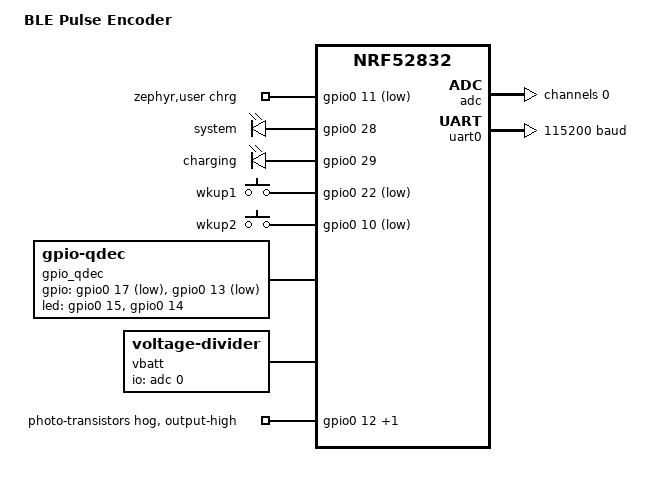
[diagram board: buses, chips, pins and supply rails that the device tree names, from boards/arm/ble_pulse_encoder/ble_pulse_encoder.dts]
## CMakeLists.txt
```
cmake_minimum_required(VERSION 3.20.0)

set(BOARD_ROOT ${CMAKE_CURRENT_LIST_DIR})
set(BOARD ble_pulse_encoder)

find_package(Zephyr REQUIRED HINTS $ENV{ZEPHYR_BASE})
project(ble-pulse-encoder)

FILE(GLOB app_sources src/*.c)
target_sources(app PRIVATE ${app_sources})
```

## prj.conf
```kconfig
CONFIG_MAIN_STACK_SIZE=1024
CONFIG_SYSTEM_WORKQUEUE_STACK_SIZE=2048
CONFIG_COMPILER_TRACK_MACRO_EXPANSION=n

CONFIG_INPUT_THREAD_STACK_SIZE=1024

CONFIG_PM_DEVICE=y

CONFIG_GPIO=y
CONFIG_GPIO_HOGS=y
CONFIG_LED=y
CONFIG_ADC=y
CONFIG_FLASH=y
CONFIG_STREAM_FLASH=y
CONFIG_FLASH_MAP=y
CONFIG_NVS=y
CONFIG_SETTINGS=y
CONFIG_WATCHDOG=y
CONFIG_INPUT=y
CONFIG_POWEROFF=y

CONFIG_SHELL=y
CONFIG_SHELL_MINIMAL=y
CONFIG_THREAD_RUNTIME_STATS=y

CONFIG_KERNEL_SHELL=y
CONFIG_SETTINGS_SHELL=y
CONFIG_FLASH_SHELL=y
CONFIG_INPUT_SHELL=y

CONFIG_BT=y
CONFIG_BT_SMP=y
CONFIG_BT_PERIPHERAL=y
CONFIG_BT_BAS=y
CONFIG_BT_DEVICE_APPEARANCE=962
CONFIG_BT_SETTINGS=y

CONFIG_BT_DEVICE_NAME="BLE Pulse Encoder"

CONFIG_BT_PERIPHERAL_PREF_MIN_INT=6
CONFIG_BT_PERIPHERAL_PREF_MAX_INT=12
CONFIG_BT_PERIPHERAL_PREF_LATENCY=30
CONFIG_BT_PERIPHERAL_PREF_TIMEOUT=400
CONFIG_BT_CONN_PARAM_UPDATE_TIMEOUT=1000

CONFIG_BT_MAX_CONN=1
CONFIG_BT_MAX_PAIRED=1

# Dev options
CONFIG_SERIAL=n
CONFIG_SHELL_BACKEND_SERIAL=n
CONFIG_UART_CONSOLE=n
CONFIG_CONSOLE=n
CONFIG_LOG=n
#CONFIG_INPUT_EVENT_DUMP=y
#CONFIG_LOG_MODE_MINIMAL=y

# MCUmgr

CONFIG_MCUBOOT_SIGNATURE_KEY_FILE="../git/ble-pulse-encoder/firmware/ble-pulse-encoder-key.pem"

CONFIG_ZCBOR=y
CONFIG_MCUMGR=y
CONFIG_BOOTLOADER_MCUBOOT=y
CONFIG_THREAD_MONITOR=y
CONFIG_MCUMGR_GRP_OS=y
CONFIG_MCUMGR_GRP_OS_ECHO=n
CONFIG_MCUMGR_GRP_OS_TASKSTAT=n
CONFIG_MCUMGR_GRP_SHELL=y
CONFIG_SHELL_BACKEND_DUMMY=y
CONFIG_SHELL_BACKEND_DUMMY_BUF_SIZE=1536
CONFIG_MCUBOOT_SHELL=y

CONFIG_MCUMGR_GRP_IMG=y
CONFIG_MCUMGR_GRP_ZBASIC=y
CONFIG_MCUMGR_GRP_ZBASIC_STORAGE_ERASE=y
CONFIG_IMG_MANAGER=y

CONFIG_BT_L2CAP_TX_MTU=498
CONFIG_BT_BUF_ACL_RX_SIZE=502
CONFIG_BT_BUF_ACL_TX_SIZE=502
CONFIG_BT_CTLR_DATA_LENGTH_MAX=251

CONFIG_MCUMGR_TRANSPORT_BT=y
CONFIG_MCUMGR_TRANSPORT_BT_AUTHEN=n
CONFIG_MCUMGR_TRANSPORT_BT_CONN_PARAM_CONTROL=y

CONFIG_MCUMGR_TRANSPORT_BT_REASSEMBLY=y
CONFIG_MCUMGR_TRANSPORT_NETBUF_SIZE=2475
CONFIG_MCUMGR_GRP_OS_MCUMGR_PARAMS=y
```

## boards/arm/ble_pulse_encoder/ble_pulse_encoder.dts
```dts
/dts-v1/;
#include <nordic/nrf52832_qfaa.dtsi>
#include <zephyr/dt-bindings/input/input-event-codes.h>
#include <zephyr/dt-bindings/gpio/nordic-nrf-gpio.h>
#include "ble_pulse_encoder-pinctrl.dtsi"

/ {
	model = "BLE Pulse Encoder";
	compatible = "balto,ble-pulse-encoder";

	zephyr,user {
		chrg-gpios = <&gpio0 11 (GPIO_PULL_UP | GPIO_ACTIVE_LOW)>;
	};

	chosen {
		zephyr,console = &uart0;
		zephyr,shell-uart = &uart0;
		zephyr,uart-mcumgr = &uart0;
		zephyr,sram = &sram0;
		zephyr,flash = &flash0;
		zephyr,code-partition = &slot0_partition;
	};

	leds {
		compatible = "gpio-leds";
		system: led_a {
			gpios = <&gpio0 28 GPIO_ACTIVE_HIGH>;
		};
		charging: led_b {
			gpios = <&gpio0 29 GPIO_ACTIVE_HIGH>;
		};
	};

	buttons: buttons {
		compatible = "gpio-keys";
		wkup1: sw_a {
			gpios = <&gpio0 22 (GPIO_PULL_UP | GPIO_ACTIVE_LOW)>;
			zephyr,code = <INPUT_BTN_RIGHT>;
		};
		wkup2: sw_b {
			gpios = <&gpio0 10 (GPIO_PULL_UP | GPIO_ACTIVE_LOW)>;
			zephyr,code = <INPUT_BTN_LEFT>;
		};
	};

	gpio_qdec: gpio-qdec {
		compatible = "gpio-qdec";
		gpios = <&gpio0 17 GPIO_ACTIVE_LOW>,
			<&gpio0 13 GPIO_ACTIVE_LOW>;
		led-gpios = <&gpio0 15 (GPIO_ACTIVE_HIGH | NRF_GPIO_DRIVE_S0H1)>,
			    <&gpio0 14 (GPIO_ACTIVE_HIGH | NRF_GPIO_DRIVE_S0H1)>;
		led-pre-us = <4>;
		steps-per-period = <4>;
		zephyr,axis = <INPUT_REL_WHEEL>;
		sample-time-us = <128>;
		idle-timeout-ms = <100>;
		idle-poll-time-us = <5000>;
	};

	vbatt: vbatt {
		compatible = "voltage-divider";
		io-channels = <&adc 0>;
		output-ohms = <(560 * 1000)>;
		full-ohms = <(560 * 1000 * 2)>;
	};
};

&uicr {
	nfct-pins-as-gpios;
};

&adc {
	status = "okay";
	#address-cells = <1>;
	#size-cells = <0>;

	channel@0 {
		reg = <0>;
		zephyr,gain = "ADC_GAIN_1_4";
		zephyr,reference = "ADC_REF_INTERNAL";
		zephyr,acquisition-time = <ADC_ACQ_TIME(ADC_ACQ_TIME_MICROSECONDS, 40)>;
		zephyr,input-positive = <NRF_SAADC_AIN3>;
		zephyr,resolution = <10>;
	};
};

&gpiote {
	status = "okay";
};

&gpio0 {
	status = "okay";
	photo-transistors {
		gpio-hog;
		gpios = <12 GPIO_ACTIVE_HIGH>,
			<16 GPIO_ACTIVE_HIGH>;
		output-high;
	};
};

&uart0 {
	status = "okay";
	compatible = "nordic,nrf-uarte";
	current-speed = <115200>;
	pinctrl-0 = <&uart0_default>;
	pinctrl-1 = <&uart0_sleep>;
	pinctrl-names = "default", "sleep";
};

&flash0 {
	partitions {
		compatible = "fixed-partitions";
		#address-cells = <1>;
		#size-cells = <1>;

		boot_partition: partition@0 {
			label = "mcuboot";
			reg = <0x00000000 0x8000>;
		};
		slot0_partition: partition@8000 {
			label = "image-0";
			reg = <0x00008000 0x3a000>;
		};
		slot1_partition: partition@42000 {
			label = "image-1";
			reg = <0x00042000 0x3a000>;
		};
		storage_partition: partition@7c000 {
			label = "storage";
			reg = <0x0007c000 0x00004000>;
		};
	};
};
```

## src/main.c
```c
#include <zephyr/kernel.h>
#include <zephyr/logging/log.h>

LOG_MODULE_REGISTER(main, LOG_LEVEL_INF);

int main(void)
{
	k_sleep(K_FOREVER);
}
```

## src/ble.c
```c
#include <zephyr/bluetooth/bluetooth.h>
#include <zephyr/bluetooth/uuid.h>
#include <zephyr/init.h>
#include <zephyr/input/input.h>
#include <zephyr/kernel.h>
#include <zephyr/logging/log.h>
#include <zephyr/settings/settings.h>
#include <zephyr/shell/shell.h>

#include "blinker.h"

LOG_MODULE_REGISTER(ble, LOG_LEVEL_INF);

#define DEVICE_NAME     CONFIG_BT_DEVICE_NAME
#define DEVICE_NAME_LEN (sizeof(DEVICE_NAME) - 1)

static const struct bt_data ad[] = {
	BT_DATA_BYTES(BT_DATA_FLAGS, (BT_LE_AD_GENERAL | BT_LE_AD_NO_BREDR)),
	BT_DATA_BYTES(BT_DATA_GAP_APPEARANCE,
		      CONFIG_BT_DEVICE_APPEARANCE & 0xff,
		      (CONFIG_BT_DEVICE_APPEARANCE >> 8) & 0xff),
	BT_DATA_BYTES(BT_DATA_UUID16_ALL,
		      BT_UUID_16_ENCODE(BT_UUID_HIDS_VAL)),
	BT_DATA(BT_DATA_NAME_COMPLETE, DEVICE_NAME, DEVICE_NAME_LEN),
};

static struct bt_le_adv_param ad_param = BT_LE_ADV_PARAM_INIT(
		BT_LE_ADV_OPT_CONNECTABLE,
		BT_GAP_ADV_SLOW_INT_MIN, BT_GAP_ADV_SLOW_INT_MAX, NULL);

#if CONFIG_SHELL

static int cmd_ble_unpair(const struct shell *sh, size_t argc, char **argv)
{
	int err;

	err = bt_unpair(BT_ID_DEFAULT, NULL);
	if (err) {
		shell_error(sh, "Failed to clear pairings (err %d)",
			    err);
		return err;
	}

	shell_print(sh, "Pairing successfully cleared");

	return 0;
}
SHELL_CMD_REGISTER(ble_unpair, NULL, "BLE Unpair", cmd_ble_unpair);

#endif

#define UNPAIR_TIMEOUT_S 5

static void unpair_handler(struct k_work *work)
{
	bt_unpair(BT_ID_DEFAULT, NULL);

	blink(BLINK_UNPAIRED);
}

K_WORK_DELAYABLE_DEFINE(unpair_dwork, unpair_handler);

static void unpair_cb(struct input_event *evt)
{
	static bool a, b;

        if (evt->type != INPUT_EV_KEY) {
		return;
	}

	if (evt->code == INPUT_BTN_LEFT) {
		a = evt->value;
	}
	else if (evt->code == INPUT_BTN_RIGHT) {
		b = evt->value;
	}

	if (a && b) {
		k_work_schedule(&unpair_dwork, K_SECONDS(UNPAIR_TIMEOUT_S));
	} else {
		k_work_cancel_delayable(&unpair_dwork);
	}
}
INPUT_CALLBACK_DEFINE(NULL, unpair_cb);

static int ble_setup(void)
{
	int err;

	err = bt_enable(NULL);
	if (err) {
		LOG_ERR("Bluetooth init failed (err %d)", err);
		return -EIO;
	}

	LOG_INF("Bluetooth initialized");

	if (IS_ENABLED(CONFIG_SETTINGS)) {
		settings_load();
	}

	err = bt_le_adv_start(&ad_param, ad, ARRAY_SIZE(ad), NULL, 0);
	if (err) {
		LOG_ERR("Advertising failed to start (err %d)", err);
		return -EIO;
	}

	return 0;
}
SYS_INIT(ble_setup, APPLICATION, 99);
```

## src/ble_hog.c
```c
#include <zephyr/bluetooth/bluetooth.h>
#include <zephyr/bluetooth/gatt.h>
#include <zephyr/bluetooth/uuid.h>
#include <zephyr/input/input.h>
#include <zephyr/kernel.h>
#include <zephyr/logging/log.h>
#include <zephyr/sys/util.h>

#include "ble_hog.h"

LOG_MODULE_REGISTER(ble_hog, LOG_LEVEL_INF);

static struct hids_info info = {
	.version = 0x0000,
	.code = 0x00,
	.flags = HIDS_NORMALLY_CONNECTABLE,
};

static struct hids_report input_mouse = {
	.id = 0x01,
	.type = HIDS_INPUT,
};

static bool notify_enabled;
static uint8_t ctrl_point;
static uint8_t report_map[] = {
	0x05, 0x01,                    // Usage Page (Generic Desktop)
	0x09, 0x02,                    // Usage (Mouse)
	0xa1, 0x01,                    // Collection (Application)
	0x85, 0x01,                    //  Report ID (1)
	0x09, 0x01,                    //  Usage (Pointer)
	0xa1, 0x00,                    //  Collection (Physical)

	0x05, 0x09,                    //   Usage Page (Button)
	0x19, 0x01,                    //   Usage Minimum (1)
	0x29, 0x03,                    //   Usage Maximum (3)
	0x15, 0x00,                    //   Logical Minimum (0)
	0x25, 0x01,                    //   Logical Maximum (1)
	0x95, 0x03,                    //   Report Count (3)
	0x75, 0x01,                    //   Report Size (1)
	0x81, 0x02,                    //   Input (Data,Var,Abs)

	0x95, 0x01,                    //   Report Count (1)
	0x75, 0x05,                    //   Report Size (5)
	0x81, 0x03,                    //   Input (Cnst,Var,Abs)

	0x05, 0x01,                    //   Usage Page (Generic Desktop)
	0x16, 0x01, 0x80,              //   Logical Minimum (-32767)
	0x26, 0xff, 0x7f,              //   Logical Maximum (32767)
	0x75, 0x10,                    //   Report Size (16)
	0x95, 0x02,                    //   Report Count (2)
	0x09, 0x30,                    //   Usage (X)
	0x09, 0x31,                    //   Usage (Y)
	0x81, 0x06,                    //   Input (Data,Var,Rel)

	0x15, 0x81,                    //   Logical Minimum (-127)
	0x25, 0x7f,                    //   Logical Maximum (127)
	0x75, 0x08,                    //   Report Size (8)
	0x95, 0x01,                    //   Report Count (1)
	0x09, 0x38,                    //   Usage (Wheel)
	0x81, 0x06,                    //   Input (Data,Var,Rel)

	0xc0,                          //  End Collection
	0xc0,                          // End Collection
};

static ssize_t read_info(struct bt_conn *conn,
			  const struct bt_gatt_attr *attr, void *buf,
			  uint16_t len, uint16_t offset)
{
	return bt_gatt_attr_read(conn, attr, buf, len, offset, attr->user_data,
				 sizeof(struct hids_info));
}

static ssize_t read_report_map(struct bt_conn *conn,
			       const struct bt_gatt_attr *attr, void *buf,
			       uint16_t len, uint16_t offset)
{
	return bt_gatt_attr_read(conn, attr, buf, len, offset, report_map,
				 sizeof(report_map));
}

static ssize_t read_report(struct bt_conn *conn,
			   const struct bt_gatt_attr *attr, void *buf,
			   uint16_t len, uint16_t offset)
{
	return bt_gatt_attr_read(conn, attr, buf, len, offset, attr->user_data,
				 sizeof(struct hids_report));
}

static void input_ccc_changed(const struct bt_gatt_attr *attr, uint16_t value)
{
	ARG_UNUSED(attr);

	notify_enabled = (value == BT_GATT_CCC_NOTIFY);

	LOG_INF("notify_enabled: %d", notify_enabled);
}

static ssize_t read_input_report(struct bt_conn *conn,
				 const struct bt_gatt_attr *attr, void *buf,
				 uint16_t len, uint16_t offset)
{
	return bt_gatt_attr_read(conn, attr, buf, len, offset, NULL, 0);
}

static ssize_t write_ctrl_point(struct bt_conn *conn,
				const struct bt_gatt_attr *attr,
				const void *buf, uint16_t len, uint16_t offset,
				uint8_t flags)
{
	uint8_t *value = attr->user_data;

	if (offset + len > sizeof(ctrl_point)) {
		return BT_GATT_ERR(BT_ATT_ERR_INVALID_OFFSET);
	}

	memcpy(value + offset, buf, len);

	return len;
}

/* HID Service Declaration */
BT_GATT_SERVICE_DEFINE(hog_svc,
	BT_GATT_PRIMARY_SERVICE(BT_UUID_HIDS),
	BT_GATT_CHARACTERISTIC(BT_UUID_HIDS_INFO, BT_GATT_CHRC_READ,
			       BT_GATT_PERM_READ, read_info, NULL, &info),
	BT_GATT_CHARACTERISTIC(BT_UUID_HIDS_REPORT_MAP, BT_GATT_CHRC_READ,
			       BT_GATT_PERM_READ, read_report_map, NULL, NULL),

	/* Report 1: mouse */
	BT_GATT_CHARACTERISTIC(BT_UUID_HIDS_REPORT,
			       BT_GATT_CHRC_READ | BT_GATT_CHRC_NOTIFY,
			       BT_GATT_PERM_READ_ENCRYPT,
			       read_input_report, NULL, NULL),
	BT_GATT_CCC(input_ccc_changed,
		    BT_GATT_PERM_READ_ENCRYPT | BT_GATT_PERM_WRITE_ENCRYPT),
	BT_GATT_DESCRIPTOR(BT_UUID_HIDS_REPORT_REF, BT_GATT_PERM_READ,
			   read_report, NULL, &input_mouse),

	BT_GATT_CHARACTERISTIC(BT_UUID_HIDS_CTRL_POINT,
			       BT_GATT_CHRC_WRITE_WITHOUT_RESP,
			       BT_GATT_PERM_WRITE,
			       NULL, write_ctrl_point, &ctrl_point),
);

static struct {
	uint8_t buttons;
	int16_t x;
	int16_t y;
	int8_t wheel;
} __packed report_mouse, report_mouse_last;

static void ble_hog_set_key_mouse(uint16_t code, uint32_t value)
{
	uint8_t bit;

	switch (code) {
	case INPUT_BTN_LEFT:
		bit = 0;
		break;
	case INPUT_BTN_RIGHT:
		bit = 1;
		break;
	case INPUT_BTN_MIDDLE:
		bit = 2;
		break;
	default:
		return;
	}

	WRITE_BIT(report_mouse.buttons, bit, value);
}

static void ble_hog_set_rel(uint16_t code, int32_t value)
{
	switch (code) {
	case INPUT_REL_X:
		report_mouse.x = CLAMP(value, INT16_MIN, INT16_MAX);
		break;
	case INPUT_REL_Y:
		report_mouse.y = CLAMP(value, INT16_MIN, INT16_MAX);
		break;
	case INPUT_REL_WHEEL:
		report_mouse.wheel = CLAMP(value, INT8_MIN, INT8_MAX);;
		break;
	default:
		return;
	}
}

static void hog_input_cb(struct input_event *evt)
{
	if (evt->type == INPUT_EV_KEY) {
		ble_hog_set_key_mouse(evt->code, evt->value);
	} else if (evt->type == INPUT_EV_REL) {
		ble_hog_set_rel(evt->code, evt->value);
	} else {
		LOG_ERR("unrecognized event type: %x", evt->type);
	}

	if (!notify_enabled) {
		return;
	}

	if (!input_queue_empty()) {
		return;
	}

	if (memcmp(&report_mouse_last, &report_mouse, sizeof(report_mouse))) {
		bt_gatt_notify(NULL, &hog_svc.attrs[5],
			       &report_mouse, sizeof(report_mouse));
		report_mouse.x = 0;
		report_mouse.y = 0;
		report_mouse.wheel = 0;
		memcpy(&report_mouse_last, &report_mouse, sizeof(report_mouse));
	}
}
INPUT_CALLBACK_DEFINE(NULL, hog_input_cb);
```

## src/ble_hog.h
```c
#include <zephyr/sys/util.h>

enum {
	HIDS_REMOTE_WAKE = BIT(0),
	HIDS_NORMALLY_CONNECTABLE = BIT(1),
};

struct hids_info {
	uint16_t version;
	uint8_t code;
	uint8_t flags;
} __packed;

struct hids_report {
	uint8_t id; /* report id */
	uint8_t type; /* report type */
} __packed;

enum {
	HIDS_INPUT = 0x01,
	HIDS_OUTPUT = 0x02,
	HIDS_FEATURE = 0x03,
};
```

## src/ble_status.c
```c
#include <zephyr/bluetooth/bluetooth.h>
#include <zephyr/bluetooth/conn.h>
#include <zephyr/init.h>
#include <zephyr/logging/log.h>
#include <zephyr/pm/device.h>

#include "blinker.h"

LOG_MODULE_REGISTER(ble_state, LOG_LEVEL_INF);

static const struct device *qdec = DEVICE_DT_GET(DT_NODELABEL(gpio_qdec));

static void connected(struct bt_conn *conn, uint8_t err)
{
	pm_device_action_run(qdec, PM_DEVICE_ACTION_RESUME);

	blink(BLINK_CONNECTED);
}

static void disconnected(struct bt_conn *conn, uint8_t reason)
{
	pm_device_action_run(qdec, PM_DEVICE_ACTION_SUSPEND);

	blink(BLINK_DISCONNECTED);
}

BT_CONN_CB_DEFINE(conn_callbacks) = {
	.connected = connected,
	.disconnected = disconnected,
};
```

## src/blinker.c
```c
#include <zephyr/device.h>
#include <zephyr/drivers/led.h>
#include <zephyr/kernel.h>
#include <zephyr/logging/log.h>

#include "blinker.h"

LOG_MODULE_REGISTER(blinker, LOG_LEVEL_INF);

static const struct device *leds = DEVICE_DT_GET_ONE(gpio_leds);

#define LED_SYSTEM DT_NODE_CHILD_IDX(DT_NODELABEL(system))

#define BLINKER_QUEUE_SZ 10

K_MSGQ_DEFINE(blinker_msgq, sizeof(enum blinker_event), BLINKER_QUEUE_SZ, 4);

void blink(enum blinker_event event)
{
	int ret;

	ret = k_msgq_put(&blinker_msgq, &event, K_NO_WAIT);
	if (ret != 0) {
		LOG_WRN("blinker queue full");
	}
}

static void blinker_thread(void)
{
	enum blinker_event event;
	int ret;

	if (!device_is_ready(leds)) {
		LOG_ERR("leds device is not ready");
		return;
	}

	led_on(leds, LED_SYSTEM);
	k_sleep(K_MSEC(100));
	led_off(leds, LED_SYSTEM);

	while (true) {
		ret = k_msgq_get(&blinker_msgq, &event, K_FOREVER);
		if (ret) {
			LOG_ERR("k_msgq_get error: %d", ret);
			continue;
		}

		switch (event) {
		case BLINK_CONNECTED:
			led_on(leds, LED_SYSTEM);
			k_sleep(K_MSEC(100));
			led_off(leds, LED_SYSTEM);
			k_sleep(K_MSEC(150));
			led_on(leds, LED_SYSTEM);
			k_sleep(K_MSEC(100));
			led_off(leds, LED_SYSTEM);
			k_sleep(K_MSEC(150));
			led_on(leds, LED_SYSTEM);
			k_sleep(K_MSEC(100));
			led_off(leds, LED_SYSTEM);
			break;
		case BLINK_DISCONNECTED:
			led_on(leds, LED_SYSTEM);
			k_sleep(K_MSEC(300));
			led_off(leds, LED_SYSTEM);
			break;
		case BLINK_UNPAIRED:
			led_on(leds, LED_SYSTEM);
			k_sleep(K_SECONDS(3));
			led_off(leds, LED_SYSTEM);
			break;
		}

		k_sleep(K_MSEC(100));
	}
}

K_THREAD_DEFINE(blinker, 384, blinker_thread, NULL, NULL, NULL, 7, 0, 0);
```

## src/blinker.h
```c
enum blinker_event {
	BLINK_CONNECTED,
	BLINK_DISCONNECTED,
	BLINK_UNPAIRED,
};

void blink(enum blinker_event event);
```

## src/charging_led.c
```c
#include <zephyr/device.h>
#include <zephyr/drivers/gpio.h>
#include <zephyr/drivers/led.h>
#include <zephyr/kernel.h>
#include <zephyr/logging/log.h>

LOG_MODULE_REGISTER(charging_led, LOG_LEVEL_INF);

static const struct gpio_dt_spec chrg = GPIO_DT_SPEC_GET(DT_PATH(zephyr_user), chrg_gpios);

#define LED_CHARGING_NODE DT_NODELABEL(charging)
#define LED_CHARGING DT_NODE_CHILD_IDX(LED_CHARGING_NODE)
static const struct device *leds = DEVICE_DT_GET(DT_PARENT(LED_CHARGING_NODE));

static void charging_led_handler(struct k_work *work);

K_WORK_DELAYABLE_DEFINE(charging_led_dwork, charging_led_handler);

static void charging_led_handler(struct k_work *work)
{
	if (gpio_pin_get_dt(&chrg)) {
		led_on(leds, LED_CHARGING);
	} else {
		led_off(leds, LED_CHARGING);
	}

	k_work_schedule(&charging_led_dwork, K_MSEC(500));
}

static int charging_led_init(void)
{
	if (!gpio_is_ready_dt(&chrg)) {
		LOG_ERR("chrg device is not ready");
		return -ENODEV;
	}

	if (!device_is_ready(leds)) {
		LOG_ERR("leds device is not ready");
		return -ENODEV;
	}

	gpio_pin_configure_dt(&chrg, GPIO_INPUT);

	charging_led_handler(&charging_led_dwork.work);

	return 0;
}
SYS_INIT(charging_led_init, APPLICATION, 50);
```
